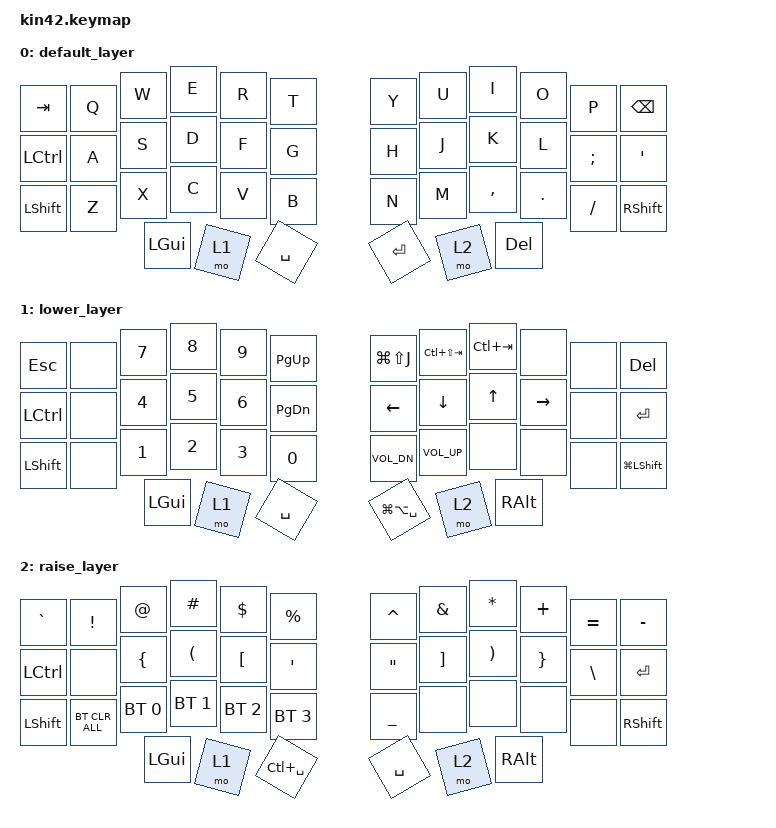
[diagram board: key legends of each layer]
// Copyright (c) 2022 The ZMK Contributors
// SPDX-License-Identifier: MIT

#define ZMK_POINTING_DEFAULT_MOVE_VAL 2500  // 600
#define ZMK_POINTING_DEFAULT_SCRL_VAL 20    // 10

#include <behaviors.dtsi>
#include <dt-bindings/zmk/bt.h>
#include <dt-bindings/zmk/keys.h>

#define LOWER   1
#define RAISE   2

// https://zmk.dev/docs/development/hardware-integration/soft-off-setup?advanced-methods=wakeup&kscan-type=dkscan

/ {
    keys {
        compatible = "gpio-keys";

        soft_off_gpio_key: soft_off_gpio_key { gpios = <&gpio1 6 (GPIO_ACTIVE_LOW | GPIO_PULL_UP)>; };
    };

    wakeup_scan: wakeup_scan {
        compatible = "zmk,kscan-gpio-direct";
        input-keys = <&soft_off_gpio_key>;
        wakeup-source;
    };

    side_band_behavior_triggers: side_band_behavior_triggers {
        compatible = "zmk,kscan-sideband-behaviors";
        kscan = <&wakeup_scan>;
        auto-enable;
        wakeup-source;
    };

    soft_off_wakers {
        compatible = "zmk,soft-off-wakeup-sources";
        wakeup-sources = <&wakeup_scan>;
    };
};

/ {
    // chosen { zmk,charmap = &charmap_us; };

    behaviors {
        ht: hold_tap {
            label = "hold_tap";
            compatible = "zmk,behavior-hold-tap";
            #binding-cells = <2>;
            flavor = "tap-preferred";
            tapping-term-ms = <220>;
            quick-tap-ms = <150>;
            global-quick-tap;
            bindings = <&kp>, <&kp>;
        };

        mmv {
            acceleration-exponent = <1>;      // 1
            time-to-max-speed-ms = <300>;    // 40
            delay-ms = <0>;                   // 0
        };

        msc {
            acceleration-exponent = <0>;      // 0
            time-to-max-speed-ms = <40>;      // 500
            delay-ms = <0>;                   // 10
        };
    };

    // conditional_layers {
    //     compatible = "zmk,conditional-layers";
    // 
    //     tri_layer {
    //         if-layers = <RIG LEF>;
    //         then-layer = <TRI>;
    //     };
    // };

    keymap {
        compatible = "zmk,keymap";

        default_layer {
            bindings = <
  &kp TAB    &kp Q  &kp W  &kp E     &kp R  &kp T      &kp Y  &kp U  &kp I      &kp O    &kp P     &kp BSPC
  &kp LCTRL  &kp A  &kp S  &kp D     &kp F  &kp G      &kp H  &kp J  &kp K      &kp L    &kp SEMI  &kp SQT
  &kp LSHFT  &kp Z  &kp X  &kp C     &kp V  &kp B      &kp N  &kp M  &kp COMMA  &kp DOT  &kp FSLH  &kp RSHFT
                           &kp LGUI  &mo 1  &kp SPACE                &kp ENTER  &mo 2    &kp DEL
            >;
        };

        lower_layer {
            bindings = <
  &kp ESC    &none  &kp N7  &kp N8    &kp N9  &kp PAGE_UP    &kp LG(LS(J))  &kp LC(LS(TAB))  &kp LC(TAB)        &none      &none     &kp DELETE
  &kp LCTRL  &none  &kp N4  &kp N5    &kp N6  &kp PAGE_DOWN  &kp LEFT       &kp DOWN         &kp UP             &kp RIGHT  &none     &kp RET
  &kp LSHFT  &none  &kp N1  &kp N2    &kp N3  &kp N0         &kp C_VOL_DN   &kp C_VOL_UP     &none              &none      &none     &kp LG(LSHFT)
                            &kp LGUI  &mo 1   &kp SPACE                                      &kp LG(LA(SPACE))  &mo 2      &kp RALT
            >;
        };

        raise_layer {
            bindings = <
  &kp GRAVE  &kp EXCL        &kp AT          &kp POUND             &kp DOLLAR        &kp PERCENT    &kp CARET          &kp AMPS           &kp STAR               &kp PLUS         &kp EQUAL      &kp MINUS
  &kp LCTRL  &none           &kp LEFT_BRACE  &kp LEFT_PARENTHESIS  &kp LEFT_BRACKET  &kp SQT        &kp DOUBLE_QUOTES  &kp RIGHT_BRACKET  &kp RIGHT_PARENTHESIS  &kp RIGHT_BRACE  &kp BACKSLASH  &kp RET
  &kp LSHFT  &bt BT_CLR_ALL  &bt BT_SEL 0    &bt BT_SEL 1          &bt BT_SEL 2      &bt BT_SEL 3   &kp UNDER          &none              &none                  &none            &none          &kp RSHFT
                                             &kp LGUI              &mo 1             &kp LC(SPACE)                                        &kp SPACE              &mo 2            &kp RALT
            >;
        };
    };
};
